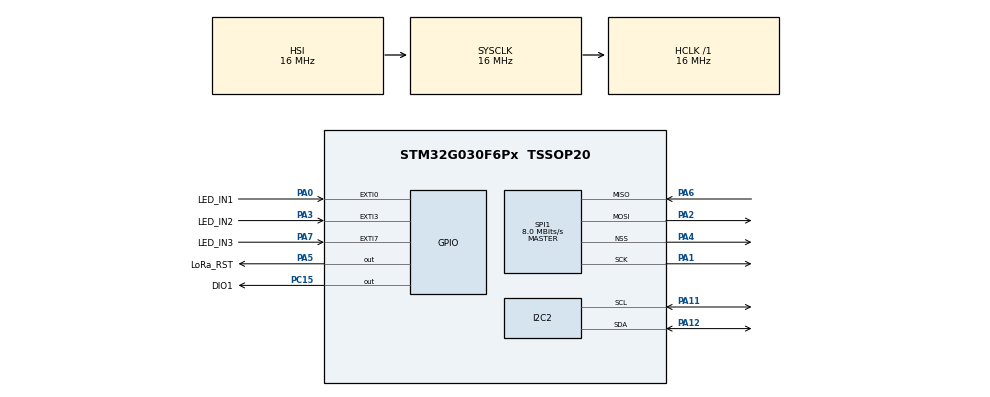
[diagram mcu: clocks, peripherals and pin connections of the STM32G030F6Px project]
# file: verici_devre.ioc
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Mcu.Family=STM32G0
Mcu.Name=STM32G030F6Px
Mcu.Package=TSSOP20
PA0.GPIO_Label=LED_IN1
PA0.GPIO_ModeDefaultEXTI=GPIO_MODE_IT_RISING_FALLING
PA0.Signal=GPXTI0
PA1.Mode=Full_Duplex_Master
PA1.Signal=SPI1_SCK
PA11\ [PA9].Mode=I2C
PA11\ [PA9].Signal=I2C2_SCL
PA12\ [PA10].Mode=I2C
PA12\ [PA10].Signal=I2C2_SDA
PA13.Mode=Serial_Wire
PA13.Signal=SYS_SWDIO
PA14-BOOT0.Mode=Serial_Wire
PA14-BOOT0.Signal=SYS_SWCLK
PA14-BOOT0__PA15.StandardMode=true
PA2.Mode=Full_Duplex_Master
PA2.Signal=SPI1_MOSI
PA3.GPIO_Label=LED_IN2
PA3.GPIO_ModeDefaultEXTI=GPIO_MODE_IT_RISING_FALLING
PA3.Signal=GPXTI3
PA4.Mode=NSS_Signal_Hard_Output
PA4.Signal=SPI1_NSS
PA5.GPIO_Label=LoRa_RST
PA5.Signal=GPIO_Output
PA6.Mode=Full_Duplex_Master
PA6.Signal=SPI1_MISO
PA7.GPIO_Label=LED_IN3
PA7.GPIO_ModeDefaultEXTI=GPIO_MODE_IT_RISING_FALLING
PA7.Signal=GPXTI7
PB0__PB1__PB2__PA8.StandardMode=true
PB3__PB4__PB5__PB6.StandardMode=true
PB7__PB8.StandardMode=true
PC14-OSC32_IN\ (PC14)__PB9.StandardMode=true
PC15-OSC32_OUT\ (PC15).GPIO_Label=DIO1
PC15-OSC32_OUT\ (PC15).Signal=GPIO_Output
ProjectManager.HeapSize=0x200
ProjectManager.StackSize=0x400
ProjectManager.TargetToolchain=STM32CubeIDE
RCC.AHBFreq_Value=16000000
RCC.CortexFreq_Value=16000000
RCC.EXTERNAL_CLOCK_VALUE=12288000
RCC.HCLKFreq_Value=16000000
RCC.HSE_VALUE=8000000
RCC.HSI_VALUE=16000000
RCC.LSE_VALUE=32768
RCC.SYSCLKFreq_VALUE=16000000
RCC.VCOOutputFreq_Value=128000000
SPI1.CalculateBaudRate=8.0 MBits/s
SPI1.Direction=SPI_DIRECTION_2LINES
SPI1.Mode=SPI_MODE_MASTER
SPI1.VirtualNSS=VM_NSSHARD
SPI1.VirtualType=VM_MASTER
board=custom

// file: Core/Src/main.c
/* USER CODE BEGIN Header */
/**
  ******************************************************************************
  * @file           : main.c
  * @brief          : Main program body
  ******************************************************************************
  * @attention
  *
  * Copyright (c) 2022 STMicroelectronics.
  * All rights reserved.
  *
  * This software is licensed under terms that can be found in the LICENSE file
  * in the root directory of this software component.
  * If no LICENSE file comes with this software, it is provided AS-IS.
  *
  ******************************************************************************
  */
/* USER CODE END Header */
#include "main.h"
#include "i2c.h"
#include "spi.h"
#include "gpio.h"

/* USER CODE BEGIN Includes */
#include "LoRa.h"
/* USER CODE END Includes */

/* USER CODE BEGIN PD */
uint8_t array[3] = {1,0,1};
uint8_t control_array[3] = {0,0,0};
LoRa transmitter;
/* USER CODE END PD */

/* USER CODE BEGIN PV */
/*void HAL_GPIO_EXTI_Callback(uint16_t GPIO_Pin)
{
	if (GPIO_Pin == LED_IN1_Pin)
	{
		array[0] = HAL_GPIO_ReadPin(LED_IN1_GPIO_Port, LED_IN1_Pin);
	}

	else if (GPIO_Pin == LED_IN2_Pin)
	{
		array[1] = HAL_GPIO_ReadPin(LED_IN2_GPIO_Port, LED_IN2_Pin);
	}
	else if (GPIO_Pin == LED_IN3_Pin)
	{
		array[2] = HAL_GPIO_ReadPin(LED_IN3_GPIO_Port, LED_IN3_Pin);
	}
}*/
/* USER CODE END PV */

void SystemClock_Config(void);

int main(void)
{

  /* MCU Configuration--------------------------------------------------------*/

  /* Reset of all peripherals, Initializes the Flash interface and the Systick. */
  HAL_Init();

  /* Configure the system clock */
  SystemClock_Config();

  /* Initialize all configured peripherals */
  MX_GPIO_Init();
  MX_I2C2_Init();
  MX_SPI1_Init();
  /* USER CODE BEGIN 2 */
  array[0] = HAL_GPIO_ReadPin(LED_IN1_GPIO_Port, LED_IN1_Pin);
  array[1] = HAL_GPIO_ReadPin(LED_IN2_GPIO_Port, LED_IN2_Pin);
  array[2] = HAL_GPIO_ReadPin(LED_IN3_GPIO_Port, LED_IN3_Pin);

  transmitter = newLoRa();

  transmitter.hSPIx = &hspi1;
  transmitter.CS_port = GPIOA;
  transmitter.CS_pin = 4;
  transmitter.reset_port = GPIOA;
  transmitter.reset_pin = 5;
  transmitter.DIO0_port = DIO1_GPIO_Port;
  transmitter.DIO0_port = 15;

  transmitter.frequency = 434.0;
  transmitter.spredingFactor = SF_7;
  transmitter.bandWidth = BW_125KHz;
  transmitter.power = POWER_11db;
  transmitter.crcRate = CR_4_5;
  transmitter.overCurrentProtection = 100;
  transmitter.preamble = 8;

  LoRa_reset(&transmitter);
  LoRa_init(&transmitter);

 LoRa_startReceiving(&transmitter);
  /* USER CODE END 2 */

  /* Infinite loop */
  /* USER CODE BEGIN WHILE */
  while (1)
  {
    /*if (array != control_array)
    {
      LoRa_transmit(&transmitter, array, sizeof(array), 1000);
    }
    control_array = array;*/

    LoRa_transmit(&transmitter, array, sizeof(array), 1000);
    HAL_Delay(500);
    /* USER CODE END WHILE */

  }
}

void SystemClock_Config(void)
{
  RCC_OscInitTypeDef RCC_OscInitStruct = {0};
  RCC_ClkInitTypeDef RCC_ClkInitStruct = {0};

  /** Configure the main internal regulator output voltage
  */
  HAL_PWREx_ControlVoltageScaling(PWR_REGULATOR_VOLTAGE_SCALE1);

  /** Initializes the RCC Oscillators according to the specified parameters
  * in the RCC_OscInitTypeDef structure.
  */
  RCC_OscInitStruct.OscillatorType = RCC_OSCILLATORTYPE_HSI;
  RCC_OscInitStruct.HSIState = RCC_HSI_ON;
  RCC_OscInitStruct.HSIDiv = RCC_HSI_DIV1;
  RCC_OscInitStruct.HSICalibrationValue = RCC_HSICALIBRATION_DEFAULT;
  RCC_OscInitStruct.PLL.PLLState = RCC_PLL_NONE;
  if (HAL_RCC_OscConfig(&RCC_OscInitStruct) != HAL_OK)
  {
    Error_Handler();
  }

  /** Initializes the CPU, AHB and APB buses clocks
  */
  RCC_ClkInitStruct.ClockType = RCC_CLOCKTYPE_HCLK|RCC_CLOCKTYPE_SYSCLK
                              |RCC_CLOCKTYPE_PCLK1;
  RCC_ClkInitStruct.SYSCLKSource = RCC_SYSCLKSOURCE_HSI;
  RCC_ClkInitStruct.AHBCLKDivider = RCC_SYSCLK_DIV1;
  RCC_ClkInitStruct.APB1CLKDivider = RCC_HCLK_DIV1;

  if (HAL_RCC_ClockConfig(&RCC_ClkInitStruct, FLASH_LATENCY_0) != HAL_OK)
  {
    Error_Handler();
  }
}

void Error_Handler(void)
{
  __disable_irq();
  while (1)
  {
  }
}
